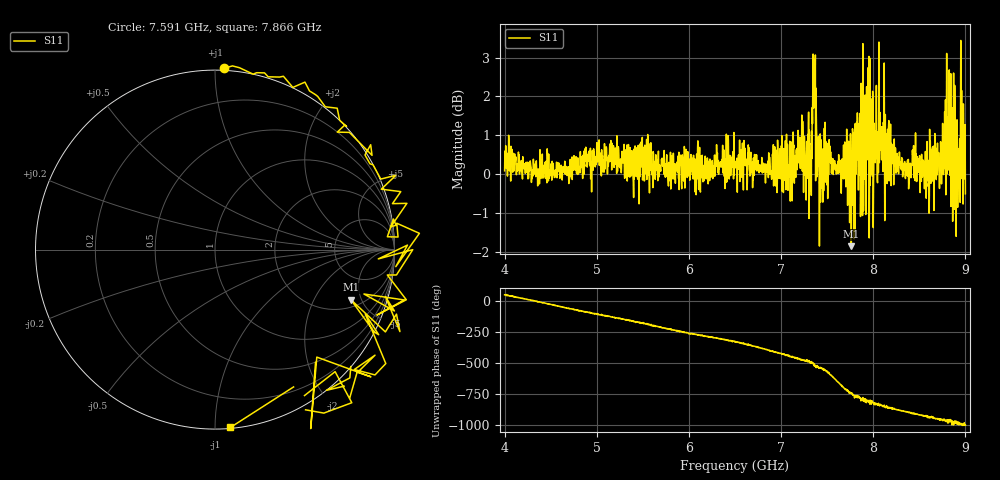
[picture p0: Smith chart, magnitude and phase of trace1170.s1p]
! Created with skrf 1.8.0 (http://scikit-rf.org).
# Hz S RI R 50.0
!freq ReS11 ImS11
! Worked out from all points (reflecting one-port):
!   1601 points, 4 GHz to 9 GHz, reference 50 ohm
!   lowest |S11| = -1.9 dB at 7.762 GHz (marker M1), VSWR 9.38, Z = 127 - j204 ohm
!   phase of S11 starts at 51 deg and turns -1050 deg over the sweep
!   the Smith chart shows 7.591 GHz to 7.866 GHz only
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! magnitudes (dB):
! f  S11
! 4 GHz  0.1
! 4.625 GHz  -0.2
! 5.25 GHz  0.2
! 5.875 GHz  0.1
! 6.5 GHz  0.2
! 7.125 GHz  0.7
! 7.209 GHz  0.1
! 7.309 GHz  0.8
! 7.362 GHz  2.2
! 7.4 GHz  0.6
! 7.441 GHz  -0.3
! 7.503 GHz  0.3
! 7.75 GHz  -0.1
! 7.762 GHz  -1.9
! 7.9 GHz  1.3
! 7.928 GHz  2.3
! 7.981 GHz  0.0
! 8.009 GHz  1.3
! 8.025 GHz  1.1
! 8.097 GHz  0.4
! 8.375 GHz  0.1
! 8.584 GHz  0.8
! 8.766 GHz  0.1
! 8.816 GHz  0.1
! 8.856 GHz  0.0
! 8.919 GHz  -0.4
! 8.972 GHz  0.8
! 9 GHz  -0.5
